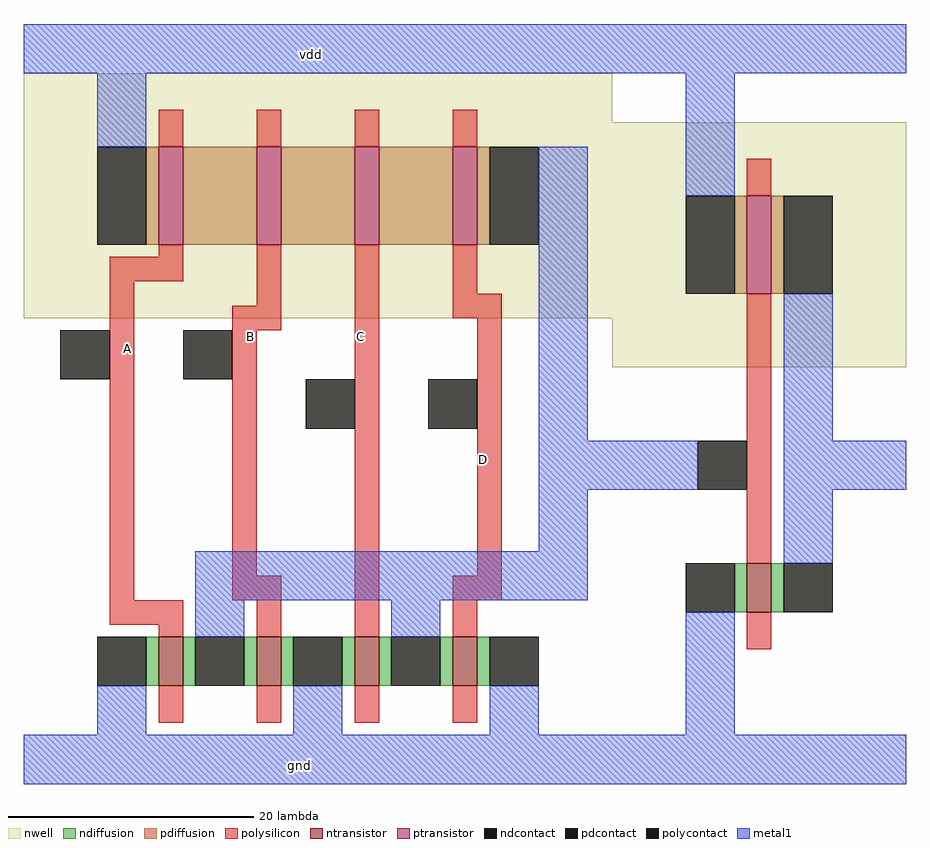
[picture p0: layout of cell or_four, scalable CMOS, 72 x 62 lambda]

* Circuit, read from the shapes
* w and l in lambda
.subckt or_four A B C D gnd vdd
M1 inverter_0/INP A gnd VSUBS nfet w=4 l=2
M2 gnd B inverter_0/INP VSUBS nfet w=4 l=2
M3 inverter_0/INP C gnd VSUBS nfet w=4 l=2
M4 gnd D inverter_0/INP VSUBS nfet w=4 l=2
M5 inverter_0/Inv_out inverter_0/INP gnd VSUBS nfet w=4 l=2
M6 n1 A vdd n2 pfet w=8 l=2
M7 n3 B n1 n2 pfet w=8 l=2
M8 n4 C n3 n2 pfet w=8 l=2
M9 inverter_0/INP D n4 n2 pfet w=8 l=2
M10 inverter_0/Inv_out inverter_0/INP vdd n2 pfet w=8 l=2
.ends

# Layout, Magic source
magic
tech scmos
<< nwell >>
rect 87 38 135 58
<< ntransistor >>
rect 98 8 100 12
rect 106 8 108 12
rect 114 8 116 12
rect 122 8 124 12
<< ptransistor >>
rect 98 44 100 52
rect 106 44 108 52
rect 114 44 116 52
rect 122 44 124 52
<< ndiffusion >>
rect 97 8 98 12
rect 100 8 101 12
rect 105 8 106 12
rect 108 8 109 12
rect 113 8 114 12
rect 116 8 117 12
rect 121 8 122 12
rect 124 8 125 12
<< pdiffusion >>
rect 97 44 98 52
rect 100 44 106 52
rect 108 44 114 52
rect 116 44 122 52
rect 124 44 125 52
<< ndcontact >>
rect 93 8 97 12
rect 101 8 105 12
rect 109 8 113 12
rect 117 8 121 12
rect 125 8 129 12
<< pdcontact >>
rect 93 44 97 52
rect 125 44 129 52
<< polysilicon >>
rect 98 52 100 55
rect 106 52 108 55
rect 114 52 116 55
rect 122 52 124 55
rect 98 43 100 44
rect 94 41 100 43
rect 94 15 96 41
rect 106 39 108 44
rect 104 37 108 39
rect 104 17 106 37
rect 104 15 108 17
rect 94 13 100 15
rect 98 12 100 13
rect 106 12 108 15
rect 114 12 116 44
rect 122 40 124 44
rect 122 38 126 40
rect 124 17 126 38
rect 122 15 126 17
rect 122 12 124 15
rect 98 5 100 8
rect 106 5 108 8
rect 114 5 116 8
rect 122 5 124 8
<< polycontact >>
rect 90 33 94 37
rect 100 33 104 37
rect 110 29 114 33
rect 120 29 124 33
<< metal1 >>
rect 87 58 135 62
rect 93 52 97 58
rect 129 28 133 52
rect 129 24 136 28
rect 129 19 133 24
rect 101 15 133 19
rect 101 12 105 15
rect 117 12 121 15
rect 93 4 97 8
rect 109 4 113 8
rect 125 4 129 8
rect 87 0 135 4
use inverter  inverter_0
transform 1 0 135 0 1 34
box 0 -34 24 28
<< labels >>
rlabel metal1 110 59 111 60 5 vdd
rlabel metal1 109 1 110 2 1 gnd
rlabel polysilicon 95 35 96 36 1 A
rlabel polysilicon 105 36 106 37 1 B
rlabel polysilicon 114 36 115 37 1 C
rlabel polysilicon 124 26 125 27 1 D
<< end >>

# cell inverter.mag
magic
tech scmos
<< nwell >>
rect 0 0 24 20
<< ntransistor >>
rect 11 -20 13 -16
<< ptransistor >>
rect 11 6 13 14
<< ndiffusion >>
rect 10 -20 11 -16
rect 13 -20 14 -16
<< pdiffusion >>
rect 10 6 11 14
rect 13 6 14 14
<< ndcontact >>
rect 6 -20 10 -16
rect 14 -20 18 -16
<< pdcontact >>
rect 6 6 10 14
rect 14 6 18 14
<< polysilicon >>
rect 11 14 13 17
rect 11 -16 13 6
rect 11 -23 13 -20
<< polycontact >>
rect 7 -10 11 -6
<< metal1 >>
rect 0 24 24 28
rect 6 14 10 24
rect 14 -6 18 6
rect 0 -10 7 -6
rect 14 -10 24 -6
rect 14 -16 18 -10
rect 6 -30 10 -20
rect 0 -34 24 -30
<< labels >>
rlabel metal1 3 -9 4 -8 3 INP
rlabel metal1 14 -31 15 -30 1 gnd
rlabel metal1 13 25 14 26 5 vdd
rlabel metal1 17 -9 18 -8 1 Inv_out
<< end >>
